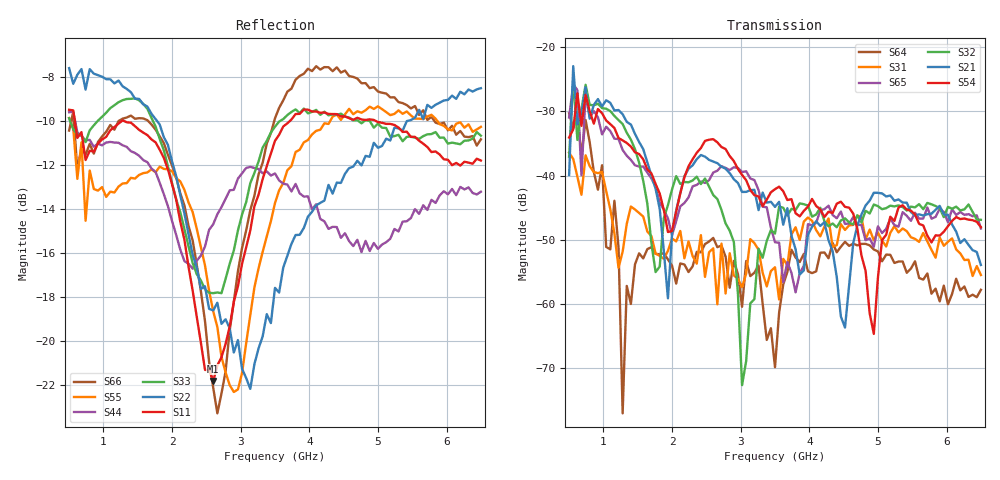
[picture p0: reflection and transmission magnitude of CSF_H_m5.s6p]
!Keysight Technologies,M9804A,MY58100912,A.14.10.03
!Date: Thursday, April 27, 2023 10:28:33
!Correction: S11(C  6-Port  )
!S12(C  6-Port  )
!S13(C  6-Port  )
!S14(C  6-Port  )
!S15(C  6-Port  )
!S16(C  6-Port  )
!S21(C  6-Port  )
!S22(C  6-Port  )
!S23(C  6-Port  )
!S24(C  6-Port  )
!S25(C  6-Port  )
!S26(C  6-Port  )
!S31(C  6-Port  )
!S32(C  6-Port  )
!S33(C  6-Port  )
!S34(C  6-Port  )
!S35(C  6-Port  )
!S36(C  6-Port  )
!S41(C  6-Port  )
!S42(C  6-Port  )
!S43(C  6-Port  )
!S44(C  6-Port  )
!S45(C  6-Port  )
!S46(C  6-Port  )
!S51(C  6-Port  )
!S52(C  6-Port  )
!S53(C  6-Port  )
!S54(C  6-Port  )
!S55(C  6-Port  )
!S56(C  6-Port  )
!S61(C  6-Port  )
!S62(C  6-Port  )
!S63(C  6-Port  )
!S64(C  6-Port  )
!S65(C  6-Port  )
!S66(C  6-Port  )
!S6P File: Measurement: :
# Hz S  RI  R 50
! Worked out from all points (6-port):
!   101 points, 500 MHz to 6.5 GHz, reference 50 ohm
!   strongest paths, dB at 500 MHz, 2 GHz, 3.5 GHz, 5 GHz, 6.5 GHz:
!     S54: -34.1, -48.7, -42.1, -55.9, -48.0
!     S21: -39.9, -49.1, -44.9, -42.7, -54.0
!     S32: -37.1, -42.1, -49.1, -44.8, -46.9
!     S65: -30.9, -49.3, -50.4, -47.9, -48.3
!     S31: -36.4, -49.8, -54.3, -48.9, -55.5
!     S64: -30.3, -54.1, -69.9, -51.8, -57.8
!   lowest |S11| = -21.8 dB at 2.6 GHz (marker M1), VSWR 1.18, Z = 42.7 + j1.91 ohm
!   |S11| at or under -10 dB: 582.5 MHz to 1.274 GHz (691.6 MHz wide, 74.5 % of centre); 1.29 GHz to 3.721 GHz (2.431 GHz wide, 97 % of centre); 4.961 GHz to end of sweep
